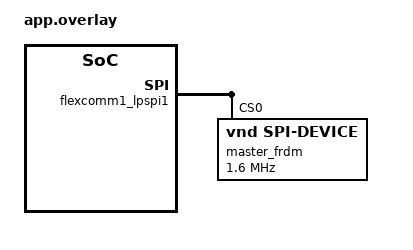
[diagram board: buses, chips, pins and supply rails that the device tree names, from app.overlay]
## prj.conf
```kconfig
CONFIG_SPI=y
CONFIG_SPI_NXP_LPSPI=y
CONFIG_SPI_NXP_LPSPI_DMA=n
CONFIG_SPI_ASYNC=n
CONFIG_GPIO=y
CONFIG_PRINTK=y
CONFIG_LOG=y
CONFIG_LOG_DEFAULT_LEVEL=3
```

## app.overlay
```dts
&flexcomm1_lpspi1 {
	transfer-delay = <100>;
	sck-pcs-delay = <200>;
	pcs-sck-delay = <200>;
	master_frdm: master_frdm@0 {
		compatible = "vnd,spi-device";
		reg = <0>;
		spi-max-frequency = <1600000>;
		label = "master_frdm";
	};
};

&flexcomm1 {
	interrupts = <36 1>;
};
```

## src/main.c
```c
#include <zephyr/kernel.h>
#include <zephyr/drivers/spi.h>
#include <zephyr/sys/printk.h>
#include <string.h>

#define WAKE_PIN 28

#define SPI_OP (SPI_OP_MODE_MASTER | SPI_MODE_CPOL | SPI_MODE_CPHA | \
                SPI_WORD_SET(8) | SPI_TRANSFER_MSB | SPI_LINES_SINGLE)


static const struct spi_dt_spec master_dev =
    SPI_DT_SPEC_GET(DT_NODELABEL(master_frdm), SPI_OP);

int main(void)
{
    int pin_val = 0;

    if (!spi_is_ready_dt(&master_dev)) {
        printk("SPI device not ready\n");
        return 0;
    }

    uint8_t data[32] = "Hello slave!";

    uint8_t rx[32];

    k_msleep(3000);

    while (1) {
	    struct spi_buf tx_buf = {
		    .buf = data,
		    .len = sizeof(data),
	    };

	    struct spi_buf_set tx_set = {
		    .buffers = &tx_buf,
		    .count = 1,
	    };

	    struct spi_buf rx_buf = {
		    .buf = rx,
		    .len = sizeof(rx),
	    };

	    struct spi_buf_set rx_set = {
		    .buffers = &rx_buf,
		    .count = 1,
	    };
      int rc = spi_transceive_dt(&master_dev, &tx_set, &rx_set);
      printk("spi_write_dt rc=%d\n", rc);
      printk("recieved: %s\n", (char*)rx);
	    k_msleep(100);
    }

    return 0;
}
```
